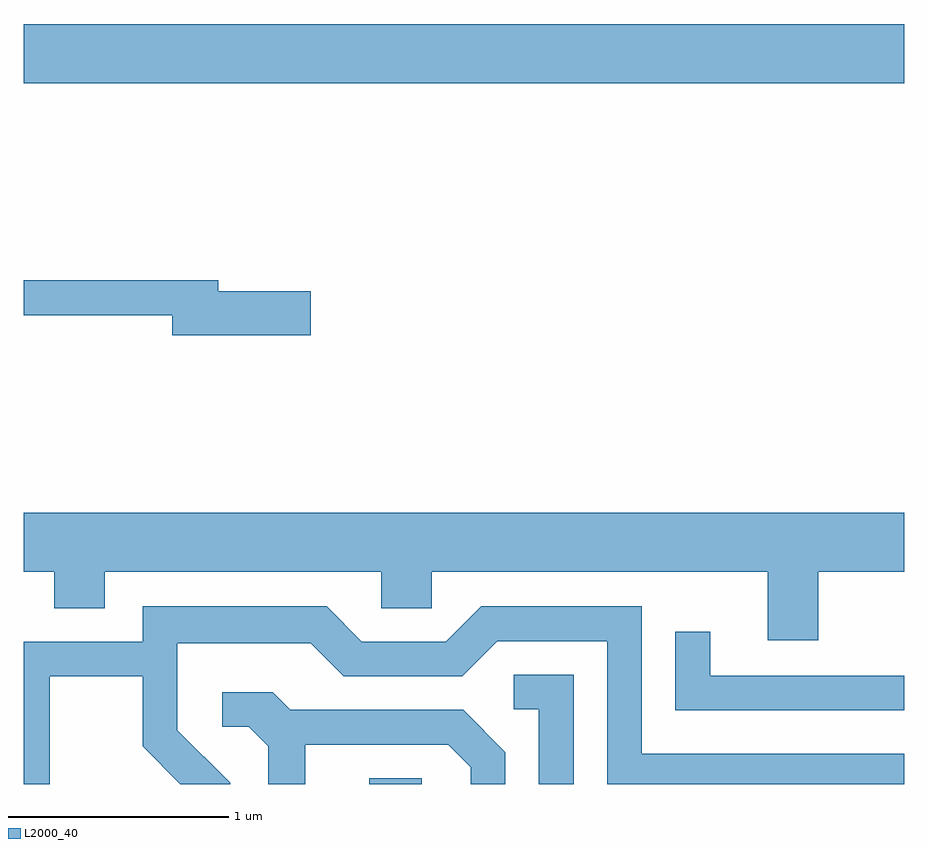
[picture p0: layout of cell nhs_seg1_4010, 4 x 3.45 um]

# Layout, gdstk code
import gdstk
lib = gdstk.Library(unit=1e-6, precision=1e-09)
def R(c, l, rs):  # rectangles x0, y0, x1, y1
    for r in rs: c.add(gdstk.rectangle(r[:2], r[2:], *l))
def P(c, l, *ps):  # polygons
    for p in ps: c.add(gdstk.Polygon(p, *l))
L2000_40 = (2000, 40)

nhs_seg1_4010 = lib.new_cell('nhs_seg1_4010')
R(nhs_seg1_4010, L2000_40, [(307.181,909.712,307.419,909.739), (305.611,912.896,309.611,913.164)])
P(nhs_seg1_4010, L2000_40, [(306.914,911.949),(306.494,911.949),(306.494,911.999),(305.611,911.999),(305.611,911.841),(306.286,911.841),(306.286,911.751),(306.914,911.751)],
  [(309.219,910.676),(309.611,910.676),(309.611,910.944),(305.611,910.944),(305.611,910.676),(305.751,910.676),(305.751,910.511),(305.979,910.511),(305.979,910.676),(307.236,910.676),(307.236,910.511),(307.464,910.511),(307.464,910.676),(308.991,910.676),(308.991,910.366),(309.219,910.366)],
  [(305.729,910.201),(306.151,910.201),(306.151,909.884),(306.323,909.712),(306.549,909.712),(306.549,909.717),(306.309,909.957),(306.309,910.351),(306.914,910.351),(307.064,910.201),(307.602,910.201),(307.762,910.361),(308.261,910.361),(308.261,909.712),(309.611,909.712),(309.611,909.849),(308.419,909.849),(308.419,910.519),(307.689,910.519),(307.529,910.359),(307.147,910.359),(306.987,910.519),(306.151,910.519),(306.151,910.359),(305.611,910.359),(305.611,909.712),(305.729,909.712)],
  [(309.611,910.204),(308.729,910.204),(308.729,910.403),(308.571,910.403),(308.571,910.046),(309.611,910.046)],
  [(308.109,910.209),(307.838,910.209),(307.838,910.051),(307.951,910.051),(307.951,909.712),(308.109,909.712)],
  [(306.889,909.891),(307.539,909.891),(307.641,909.789),(307.641,909.712),(307.799,909.712),(307.799,909.857),(307.607,910.049),(306.822,910.049),(306.742,910.129),(306.513,910.129),(306.513,909.971),(306.634,909.971),(306.721,909.884),(306.721,909.712),(306.889,909.712)])

lib.write_gds('nhs_seg1_4010.gds')
